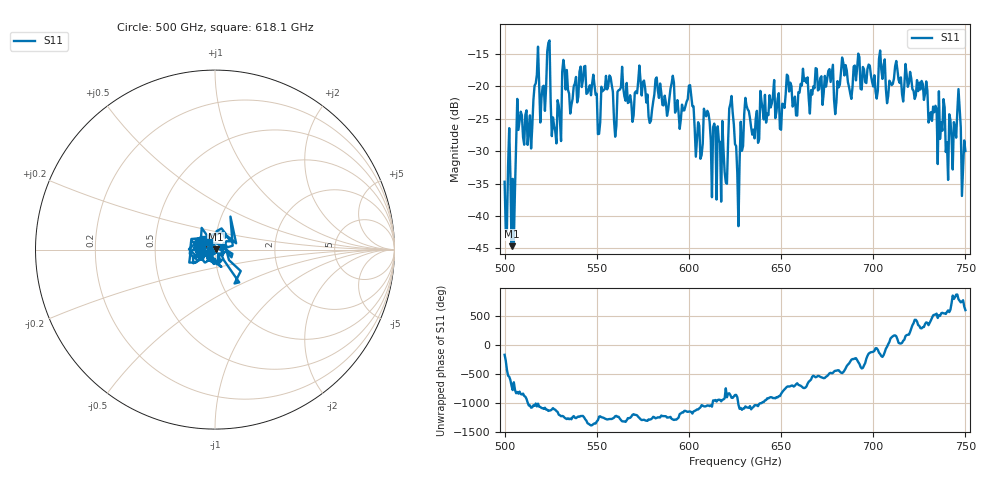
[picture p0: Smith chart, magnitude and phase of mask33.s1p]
!Created with skrf (http://scikit-rf.org).
# GHz S MA R 50.0
!freq magS11 angS11
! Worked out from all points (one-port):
!   401 points, 500 GHz to 750 GHz, reference 50 ohm
!   lowest |S11| = -44.7 dB at 503.8 GHz (marker M1), VSWR 1.01, Z = 50.6 + j0.145 ohm
!   |S11| at or under -10 dB: start of sweep to end of sweep
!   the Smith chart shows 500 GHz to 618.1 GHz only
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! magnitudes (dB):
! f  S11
! 500 GHz  -34.7
! 503.8 GHz  -44.7
! 505 GHz  -44.2
! 508.1 GHz  -25.3
! 513.8 GHz  -24.5
! 517.5 GHz  -18.2
! 520.6 GHz  -20.0
! 523.8 GHz  -13.2
! 526.9 GHz  -26.1
! 531.2 GHz  -17.7
! 542.5 GHz  -19.0
! 550.6 GHz  -27.4
! 562.5 GHz  -20.5
! 593.8 GHz  -22.1
! 600.6 GHz  -19.8
! 606.2 GHz  -31.2
! 609.4 GHz  -24.6
! 618.8 GHz  -29.8
! 623.1 GHz  -21.5
! 625 GHz  -28.9
! 626.2 GHz  -33.4
! 631.2 GHz  -23.0
! 656.2 GHz  -23.1
! 687.5 GHz  -21.1
! 718.8 GHz  -20.0
! 741.9 GHz  -25.2
! 746.2 GHz  -20.4
! 750 GHz  -30.0
